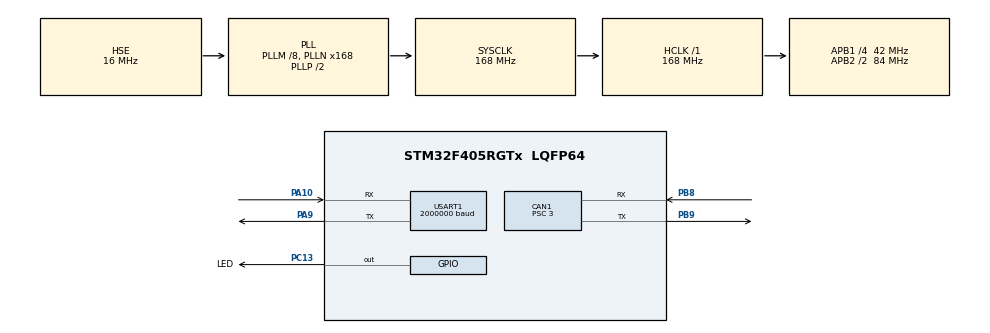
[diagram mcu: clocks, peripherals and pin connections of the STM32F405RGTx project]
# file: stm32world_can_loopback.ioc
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CAN1.BS1=CAN_BS1_11TQ
CAN1.BS2=CAN_BS2_2TQ
CAN1.CalculateBaudRate=1000000
CAN1.CalculateTimeBit=1000
CAN1.CalculateTimeQuantum=71.42857142857143
CAN1.Mode=CAN_MODE_LOOPBACK
CAN1.Prescaler=3
Mcu.Family=STM32F4
Mcu.Name=STM32F405RGTx
Mcu.Package=LQFP64
NVIC.CAN1_RX0_IRQn=true\:0\:0\:false\:false\:true\:true\:true\:true
NVIC.CAN1_RX1_IRQn=true\:0\:0\:false\:false\:true\:true\:true\:true
NVIC.CAN1_SCE_IRQn=true\:0\:0\:false\:false\:true\:true\:true\:true
NVIC.CAN1_TX_IRQn=true\:0\:0\:false\:false\:true\:true\:true\:true
NVIC.PriorityGroup=NVIC_PRIORITYGROUP_4
PA10.Mode=Asynchronous
PA10.Signal=USART1_RX
PA13.Mode=Trace_Asynchronous_SW
PA13.Signal=SYS_JTMS-SWDIO
PA14.Mode=Trace_Asynchronous_SW
PA14.Signal=SYS_JTCK-SWCLK
PA9.Mode=Asynchronous
PA9.Signal=USART1_TX
PB3.Mode=Trace_Asynchronous_SW
PB3.Signal=SYS_JTDO-SWO
PB8.Mode=CAN_Activate
PB8.Signal=CAN1_RX
PB9.Mode=CAN_Activate
PB9.Signal=CAN1_TX
PC13-ANTI_TAMP.GPIO_Label=LED
PC13-ANTI_TAMP.GPIO_ModeDefaultOutputPP=GPIO_MODE_OUTPUT_OD
PC13-ANTI_TAMP.GPIO_PuPd=GPIO_NOPULL
PC13-ANTI_TAMP.PinState=GPIO_PIN_SET
PC13-ANTI_TAMP.Signal=GPIO_Output
PH0-OSC_IN.Mode=HSE-External-Oscillator
PH0-OSC_IN.Signal=RCC_OSC_IN
PH1-OSC_OUT.Mode=HSE-External-Oscillator
PH1-OSC_OUT.Signal=RCC_OSC_OUT
ProjectManager.HeapSize=0x200
ProjectManager.StackSize=0x400
ProjectManager.TargetToolchain=STM32CubeIDE
RCC.48MHZClocksFreq_Value=84000000
RCC.AHBFreq_Value=168000000
RCC.APB1CLKDivider=RCC_HCLK_DIV4
RCC.APB1Freq_Value=42000000
RCC.APB1TimFreq_Value=84000000
RCC.APB2CLKDivider=RCC_HCLK_DIV2
RCC.APB2Freq_Value=84000000
RCC.APB2TimFreq_Value=168000000
RCC.CortexFreq_Value=168000000
RCC.HCLKFreq_Value=168000000
RCC.HSE_VALUE=16000000
RCC.HSI_VALUE=16000000
RCC.LSE_VALUE=32768
RCC.PLLM=8
RCC.PLLN=168
RCC.PLLSourceVirtual=RCC_PLLSOURCE_HSE
RCC.SYSCLKFreq_VALUE=168000000
RCC.SYSCLKSource=RCC_SYSCLKSOURCE_PLLCLK
RCC.VCOOutputFreq_Value=336000000
USART1.BaudRate=2000000
USART1.VirtualMode=VM_ASYNC
board=custom

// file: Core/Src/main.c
/* USER CODE BEGIN Header */
/**
 ******************************************************************************
 * @file           : main.c
 * @brief          : Main program body
 ******************************************************************************
 * @attention
 *
 * Copyright (c) 2024 Lars Boegild Thomsen <lth@stm32world.com>
 * All rights reserved.
 *
 * This software is licensed under terms that can be found in the LICENSE file
 * in the root directory of this software component.
 * If no LICENSE file comes with this software, it is provided AS-IS.
 *
 ******************************************************************************
 */
/* USER CODE END Header */
#include "main.h"

/* USER CODE BEGIN Includes */
#include <stdlib.h>
#include <stdio.h>
#include <string.h>
/* USER CODE END Includes */

/* USER CODE BEGIN PD */

// Example filter
#define CAN_RX_ID    0b10111111100
#define CAN_RX_MASK  0b11111111100

// Our example IDs
#define CAN_ID_0     0b10111111100   // 0x5fc - 1532
#define CAN_ID_1     0b10111111101   // 0x5fd - 1533
#define CAN_ID_2     0b10111111110   // 0x5fe - 1534
//#define CAN_ID_3     0b10111111111   // 0x5ff - 1535 - Intended
#define CAN_ID_3     0b10101111111   // 0x57f - 1407 - Wrong - should NOT match our filter

#define CAN_FILTER_ID_REMOTE 0b00010000

/* USER CODE END PD */

CAN_HandleTypeDef hcan1;

UART_HandleTypeDef huart1;

/* USER CODE BEGIN PV */

CAN_TxHeaderTypeDef TxHeader;
CAN_RxHeaderTypeDef RxHeader;

uint8_t TxData[8];
uint8_t RxData[8];

uint32_t msg_count = 0;

/* USER CODE END PV */

void SystemClock_Config(void);
static void MX_GPIO_Init(void);
static void MX_USART1_UART_Init(void);
static void MX_CAN1_Init(void);

/* USER CODE BEGIN 0 */

// Send printf to uart1
int _write(int fd, char *ptr, int len) {
    HAL_StatusTypeDef hstatus;

    if (fd == 1 || fd == 2) {
        hstatus = HAL_UART_Transmit(&huart1, (uint8_t*) ptr, len, HAL_MAX_DELAY);
        if (hstatus == HAL_OK)
            return len;
        else
            return -1;
    }
    return -1;
}

// CAN Callbacks

void HAL_CAN_TxMailbox0CompleteCallback(CAN_HandleTypeDef *hcan) {
    printf("HAL_CAN_TxMailbox0CompleteCallback\n");
}

void HAL_CAN_TxMailbox1CompleteCallback(CAN_HandleTypeDef *hcan) {
    printf("HAL_CAN_TxMailbox1CompleteCallback\n");
}

void HAL_CAN_TxMailbox2CompleteCallback(CAN_HandleTypeDef *hcan) {
    printf("HAL_CAN_TxMailbox2CompleteCallback\n");
}

void HAL_CAN_TxMailbox0AbortCallback(CAN_HandleTypeDef *hcan) {
    printf("HAL_CAN_TxMailbox0AbortCallback\n");
}

void HAL_CAN_TxMailbox1AbortCallback(CAN_HandleTypeDef *hcan) {
    printf("HAL_CAN_TxMailbox1AbortCallback\n");
}

void HAL_CAN_TxMailbox2AbortCallback(CAN_HandleTypeDef *hcan) {
    printf("HAL_CAN_TxMailbox2AbortCallback\n");
}

void HAL_CAN_RxFifo0MsgPendingCallback(CAN_HandleTypeDef *hcan) {
    printf("HAL_CAN_RxFifo0MsgPendingCallback\n");
    if (HAL_CAN_GetRxMessage(hcan, CAN_RX_FIFO0, &RxHeader, RxData) == HAL_OK) {
        printf("Got message %lu - id=0x%04lx type=%lx len=0x%lx, data=%02x%02x%02x%02x%02x%02x%02x%02x\n", msg_count + 1, RxHeader.StdId, RxHeader.RTR, RxHeader.DLC, RxData[0], RxData[1], RxData[2], RxData[3], RxData[4], RxData[5], RxData[6], RxData[7]);
    }
    msg_count++;
}

void HAL_CAN_RxFifo0FullCallback(CAN_HandleTypeDef *hcan) {
    printf("HAL_CAN_RxFifo0FullCallback\n");
}

void HAL_CAN_RxFifo1MsgPendingCallback(CAN_HandleTypeDef *hcan) {
    printf("HAL_CAN_RxFifo1MsgPendingCallback\n");
}

void HAL_CAN_RxFifo1FullCallback(CAN_HandleTypeDef *hcan) {
    printf("HAL_CAN_RxFifo1FullCallback\n");
}

void HAL_CAN_SleepCallback(CAN_HandleTypeDef *hcan) {
    printf("HAL_CAN_SleepCallback\n");
}

void HAL_CAN_WakeUpFromRxMsgCallback(CAN_HandleTypeDef *hcan) {
    printf("HAL_CAN_WakeUpFromRxMsgCallback\n");
}

void HAL_CAN_ErrorCallback(CAN_HandleTypeDef *hcan) {
    printf("HAL_CAN_ErrorCallback\n");
}

/* USER CODE END 0 */

int main(void)
{

    /* MCU Configuration--------------------------------------------------------*/

    /* Reset of all peripherals, Initializes the Flash interface and the Systick. */
    HAL_Init();

    /* Configure the system clock */
    SystemClock_Config();

    /* Initialize all configured peripherals */
    MX_GPIO_Init();
    MX_USART1_UART_Init();
    MX_CAN1_Init();
    /* USER CODE BEGIN 2 */

    printf("\n\n\n--------\nStarting\n");

    CAN_FilterTypeDef canfilterconfig;

//    canfilterconfig.FilterActivation = CAN_FILTER_ENABLE;
//    canfilterconfig.FilterBank = 0;  // anything between 0 to SlaveStartFilterBank
//    canfilterconfig.SlaveStartFilterBank = 13;  // 13 to 27 are assigned to slave CAN (CAN 2) OR 0 to 12 are assgned to CAN1
//    canfilterconfig.FilterFIFOAssignment = CAN_RX_FIFO0;
//    canfilterconfig.FilterIdLow = CAN_RX_ID << 5;
//    //canfilterconfig.FilterIdHigh = 0x0000;     // Will match everything if the mask is 0x0000
//    canfilterconfig.FilterMaskIdLow = CAN_RX_MASK << 5;
//    //canfilterconfig.FilterMaskIdHigh = 0x0000; // Accept everything
//    canfilterconfig.FilterMode = CAN_FILTERMODE_IDMASK;
//    canfilterconfig.FilterScale = CAN_FILTERSCALE_16BIT;

    canfilterconfig.FilterActivation = CAN_FILTER_ENABLE;
    canfilterconfig.FilterBank = 0;  // anything between 0 to SlaveStartFilterBank
    canfilterconfig.SlaveStartFilterBank = 13;  // 13 to 27 are assigned to slave CAN (CAN 2) OR 0 to 12 are assgned to CAN1
    canfilterconfig.FilterFIFOAssignment = CAN_RX_FIFO0;
    canfilterconfig.FilterIdLow = CAN_ID_0 << 5;
    canfilterconfig.FilterIdHigh = CAN_ID_1 << 5;
    canfilterconfig.FilterMaskIdLow = CAN_ID_2 << 5;
    canfilterconfig.FilterMaskIdHigh = (CAN_ID_3 << 5) | CAN_FILTER_ID_REMOTE;
    canfilterconfig.FilterMode = CAN_FILTERMODE_IDLIST;
    canfilterconfig.FilterScale = CAN_FILTERSCALE_16BIT;

    HAL_CAN_ConfigFilter(&hcan1, &canfilterconfig);

    HAL_CAN_Start(&hcan1);

    HAL_CAN_ActivateNotification(
            &hcan1,
            CAN_IT_TX_MAILBOX_EMPTY |
            CAN_IT_RX_FIFO0_MSG_PENDING |
            CAN_IT_RX_FIFO0_FULL |
            CAN_IT_RX_FIFO0_OVERRUN |
            CAN_IT_RX_FIFO1_MSG_PENDING |
            CAN_IT_RX_FIFO1_FULL |
            CAN_IT_RX_FIFO1_OVERRUN |
            CAN_IT_WAKEUP |
            CAN_IT_SLEEP_ACK |
            CAN_IT_ERROR_WARNING |
            CAN_IT_ERROR_PASSIVE |
            CAN_IT_BUSOFF |
            CAN_IT_LAST_ERROR_CODE |
            CAN_IT_ERROR
            );

    /* USER CODE END 2 */

    /* Infinite loop */
    /* USER CODE BEGIN WHILE */

    uint32_t now = 0, loop_cnt = 0, next_blink = 500, next_tick = 1000, next_tx0 = 5000, next_tx1 = 10000;

    while (1) {

        now = uwTick;

        uint32_t clock_tx = now / 1000;

        if (now >= next_blink) {
            HAL_GPIO_TogglePin(LED_GPIO_Port, LED_Pin);
            next_blink = now + 500;
        }

        if (now >= next_tick) {
            printf("Tick %lu (loop=%lu)\n", now / 1000, loop_cnt);
            loop_cnt = 0;
            next_tick = now + 1000;
        }

        if (now >= next_tx0) {

            TxHeader.DLC = 8;
            TxHeader.IDE = CAN_ID_STD;
            TxHeader.RTR = CAN_RTR_REMOTE;
            TxHeader.StdId = CAN_ID_3;

            uint32_t mb0;
            if (HAL_CAN_AddTxMessage(&hcan1, &TxHeader, NULL, &mb0) != HAL_OK) {
                Error_Handler();
            }

            TxHeader.DLC = 4;
            TxHeader.IDE = CAN_ID_STD;
            TxHeader.RTR = CAN_RTR_DATA;
            TxHeader.StdId = CAN_ID_0;

            uint32_t mb1;
            if (HAL_CAN_AddTxMessage(&hcan1, &TxHeader, (uint8_t*) &clock_tx, &mb1) != HAL_OK) {
                Error_Handler();
            }

            next_tx0 = now + 10000;
        }

        if (now >= next_tx1) {

            TxHeader.DLC = 4;
            TxHeader.IDE = CAN_ID_STD;
            TxHeader.RTR = CAN_RTR_DATA;
            TxHeader.StdId = CAN_ID_1;

            uint32_t mb0;
            if (HAL_CAN_AddTxMessage(&hcan1, &TxHeader, (uint8_t*) &clock_tx, &mb0) != HAL_OK) {
                Error_Handler();
            }

            next_tx1 = now + 10000;
        }

        ++loop_cnt;

        /* USER CODE END WHILE */

    }
}

void SystemClock_Config(void)
{
    RCC_OscInitTypeDef RCC_OscInitStruct = { 0 };
    RCC_ClkInitTypeDef RCC_ClkInitStruct = { 0 };

    /** Configure the main internal regulator output voltage
     */
    __HAL_RCC_PWR_CLK_ENABLE();
    __HAL_PWR_VOLTAGESCALING_CONFIG(PWR_REGULATOR_VOLTAGE_SCALE1);

    /** Initializes the RCC Oscillators according to the specified parameters
     * in the RCC_OscInitTypeDef structure.
     */
    RCC_OscInitStruct.OscillatorType = RCC_OSCILLATORTYPE_HSE;
    RCC_OscInitStruct.HSEState = RCC_HSE_ON;
    RCC_OscInitStruct.PLL.PLLState = RCC_PLL_ON;
    RCC_OscInitStruct.PLL.PLLSource = RCC_PLLSOURCE_HSE;
    RCC_OscInitStruct.PLL.PLLM = 8;
    RCC_OscInitStruct.PLL.PLLN = 168;
    RCC_OscInitStruct.PLL.PLLP = RCC_PLLP_DIV2;
    RCC_OscInitStruct.PLL.PLLQ = 4;
    if (HAL_RCC_OscConfig(&RCC_OscInitStruct) != HAL_OK)
            {
        Error_Handler();
    }

    /** Initializes the CPU, AHB and APB buses clocks
     */
    RCC_ClkInitStruct.ClockType = RCC_CLOCKTYPE_HCLK | RCC_CLOCKTYPE_SYSCLK
            | RCC_CLOCKTYPE_PCLK1 | RCC_CLOCKTYPE_PCLK2;
    RCC_ClkInitStruct.SYSCLKSource = RCC_SYSCLKSOURCE_PLLCLK;
    RCC_ClkInitStruct.AHBCLKDivider = RCC_SYSCLK_DIV1;
    RCC_ClkInitStruct.APB1CLKDivider = RCC_HCLK_DIV4;
    RCC_ClkInitStruct.APB2CLKDivider = RCC_HCLK_DIV2;

    if (HAL_RCC_ClockConfig(&RCC_ClkInitStruct, FLASH_LATENCY_5) != HAL_OK)
            {
        Error_Handler();
    }
}

static void MX_CAN1_Init(void)
{

    hcan1.Instance = CAN1;
    hcan1.Init.Prescaler = 3;
    hcan1.Init.Mode = CAN_MODE_LOOPBACK;
    hcan1.Init.SyncJumpWidth = CAN_SJW_1TQ;
    hcan1.Init.TimeSeg1 = CAN_BS1_7TQ;
    hcan1.Init.TimeSeg2 = CAN_BS2_6TQ;
    hcan1.Init.TimeTriggeredMode = DISABLE;
    hcan1.Init.AutoBusOff = DISABLE;
    hcan1.Init.AutoWakeUp = DISABLE;
    hcan1.Init.AutoRetransmission = DISABLE;
    hcan1.Init.ReceiveFifoLocked = DISABLE;
    hcan1.Init.TransmitFifoPriority = DISABLE;
    if (HAL_CAN_Init(&hcan1) != HAL_OK)
            {
        Error_Handler();
    }

}

static void MX_USART1_UART_Init(void)
{

    huart1.Instance = USART1;
    huart1.Init.BaudRate = 2000000;
    huart1.Init.WordLength = UART_WORDLENGTH_8B;
    huart1.Init.StopBits = UART_STOPBITS_1;
    huart1.Init.Parity = UART_PARITY_NONE;
    huart1.Init.Mode = UART_MODE_TX_RX;
    huart1.Init.HwFlowCtl = UART_HWCONTROL_NONE;
    huart1.Init.OverSampling = UART_OVERSAMPLING_16;
    if (HAL_UART_Init(&huart1) != HAL_OK)
            {
        Error_Handler();
    }

}

static void MX_GPIO_Init(void)
{
    GPIO_InitTypeDef GPIO_InitStruct = { 0 };

    /* GPIO Ports Clock Enable */
    __HAL_RCC_GPIOC_CLK_ENABLE();
    __HAL_RCC_GPIOH_CLK_ENABLE();
    __HAL_RCC_GPIOA_CLK_ENABLE();
    __HAL_RCC_GPIOB_CLK_ENABLE();

    /*Configure GPIO pin Output Level */
    HAL_GPIO_WritePin(LED_GPIO_Port, LED_Pin, GPIO_PIN_SET);

    /*Configure GPIO pin : LED_Pin */
    GPIO_InitStruct.Pin = LED_Pin;
    GPIO_InitStruct.Mode = GPIO_MODE_OUTPUT_OD;
    GPIO_InitStruct.Pull = GPIO_NOPULL;
    GPIO_InitStruct.Speed = GPIO_SPEED_FREQ_LOW;
    HAL_GPIO_Init(LED_GPIO_Port, &GPIO_InitStruct);

}

void Error_Handler(void)
{
    __disable_irq();
    while (1)
    {
    }
}
